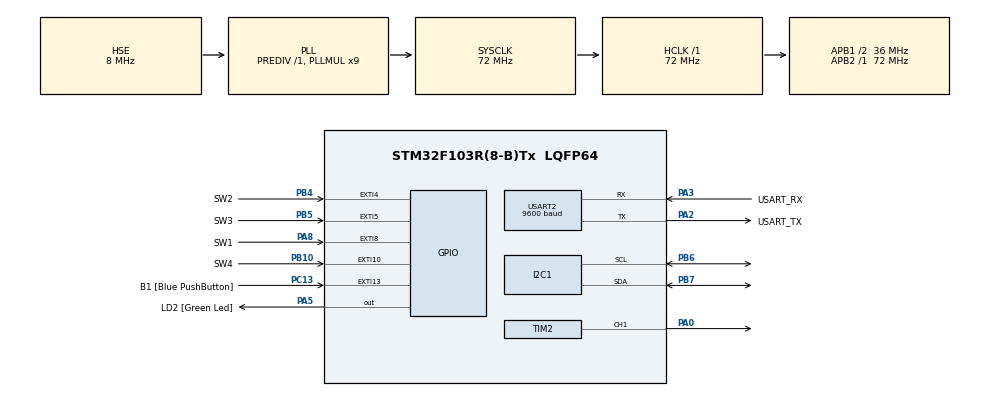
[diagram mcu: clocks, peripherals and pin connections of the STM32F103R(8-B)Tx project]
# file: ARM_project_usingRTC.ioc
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I2C1.I2C_Mode=I2C_Standard
Mcu.Family=STM32F1
Mcu.Name=STM32F103R(8-B)Tx
Mcu.Package=LQFP64
NVIC.EXTI15_10_IRQn=true\:0\:0\:false\:false\:true\:true\:true\:true
NVIC.EXTI4_IRQn=true\:0\:0\:false\:false\:true\:true\:true\:true
NVIC.EXTI9_5_IRQn=true\:0\:0\:false\:false\:true\:true\:true\:true
NVIC.I2C1_ER_IRQn=true\:0\:0\:false\:false\:true\:true\:true\:true
NVIC.I2C1_EV_IRQn=true\:0\:0\:false\:false\:true\:true\:true\:true
NVIC.PriorityGroup=NVIC_PRIORITYGROUP_4
NVIC.RTC_Alarm_IRQn=true\:0\:0\:false\:false\:true\:true\:true\:true
NVIC.RTC_IRQn=true\:0\:0\:false\:false\:true\:true\:true\:true
NVIC.TIM2_IRQn=true\:0\:0\:false\:false\:true\:true\:true\:true
NVIC.USART2_IRQn=true\:0\:0\:false\:false\:true\:true\:true\:true
PA0-WKUP.Signal=S_TIM2_CH1_ETR
PA13.GPIO_Label=TMS
PA13.Mode=Serial_Wire
PA13.Signal=SYS_JTMS-SWDIO
PA14.GPIO_Label=TCK
PA14.Mode=Serial_Wire
PA14.Signal=SYS_JTCK-SWCLK
PA2.GPIO_Label=USART_TX
PA2.GPIO_Mode=GPIO_MODE_AF_PP
PA2.GPIO_PuPd=GPIO_NOPULL
PA2.GPIO_Speed=GPIO_SPEED_FREQ_LOW
PA2.Mode=Asynchronous
PA2.Signal=USART2_TX
PA3.GPIO_Label=USART_RX
PA3.GPIO_Mode=GPIO_MODE_AF_PP
PA3.GPIO_PuPd=GPIO_NOPULL
PA3.GPIO_Speed=GPIO_SPEED_FREQ_LOW
PA3.Mode=Asynchronous
PA3.Signal=USART2_RX
PA5.GPIO_Label=LD2 [Green Led]
PA5.GPIO_ModeDefaultOutputPP=GPIO_MODE_OUTPUT_PP
PA5.GPIO_PuPd=GPIO_NOPULL
PA5.GPIO_Speed=GPIO_SPEED_FREQ_LOW
PA5.Signal=GPIO_Output
PA8.GPIO_Label=SW1
PA8.GPIO_ModeDefaultEXTI=GPIO_MODE_IT_RISING
PA8.Signal=GPXTI8
PB10.GPIO_Label=SW4
PB10.GPIO_ModeDefaultEXTI=GPIO_MODE_IT_FALLING
PB10.GPIO_PuPd=GPIO_NOPULL
PB10.Signal=GPXTI10
PB3.GPIO_Label=SWO
PB3.Signal=SYS_JTDO-TRACESWO
PB4.GPIO_Label=SW2
PB4.GPIO_ModeDefaultEXTI=GPIO_MODE_IT_RISING
PB4.GPIO_PuPd=GPIO_NOPULL
PB4.Signal=GPXTI4
PB5.GPIO_Label=SW3
PB5.GPIO_ModeDefaultEXTI=GPIO_MODE_IT_FALLING
PB5.GPIO_PuPd=GPIO_NOPULL
PB5.Signal=GPXTI5
PB6.Mode=I2C
PB6.Signal=I2C1_SCL
PB7.Mode=I2C
PB7.Signal=I2C1_SDA
PC13-TAMPER-RTC.GPIO_Label=B1 [Blue PushButton]
PC13-TAMPER-RTC.GPIO_PuPd=GPIO_NOPULL
PC13-TAMPER-RTC.Signal=GPXTI13
PC14-OSC32_IN.Mode=LSE-External-Oscillator
PC14-OSC32_IN.Signal=RCC_OSC32_IN
PC15-OSC32_OUT.Mode=LSE-External-Oscillator
PC15-OSC32_OUT.Signal=RCC_OSC32_OUT
PD0-OSC_IN.Mode=HSE-External-Oscillator
PD0-OSC_IN.Signal=RCC_OSC_IN
PD1-OSC_OUT.Mode=HSE-External-Oscillator
PD1-OSC_OUT.Signal=RCC_OSC_OUT
ProjectManager.HeapSize=0x200
ProjectManager.StackSize=0x400
ProjectManager.TargetToolchain=STM32CubeIDE
RCC.AHBFreq_Value=72000000
RCC.APB1CLKDivider=RCC_HCLK_DIV2
RCC.APB1Freq_Value=36000000
RCC.APB1TimFreq_Value=72000000
RCC.APB2Freq_Value=72000000
RCC.APB2TimFreq_Value=72000000
RCC.HCLKFreq_Value=72000000
RCC.PLLMUL=RCC_PLL_MUL9
RCC.PLLSourceVirtual=RCC_PLLSOURCE_HSE
RCC.RTCClockSelection=RCC_RTCCLKSOURCE_LSE
RCC.SYSCLKFreq_VALUE=72000000
RCC.SYSCLKSource=RCC_SYSCLKSOURCE_PLLCLK
RCC.USBFreq_Value=72000000
RTC.AutoPrediv=RTC_AUTO_1_SECOND
RTC.OutPut=RTC_OUTPUTSOURCE_ALARM
SH.S_TIM2_CH1_ETR.0=TIM2_CH1,PWM Generation1 CH1
TIM2.Channel-PWM\ Generation1\ CH1=TIM_CHANNEL_1
TIM2.Period=2000-1
TIM2.Prescaler=720-1
TIM3.Period=65535
TIM3.Prescaler=7200-1
USART2.BaudRate=9600
USART2.VirtualMode=VM_ASYNC
VP_RTC_VS_RTC_Activate.Mode=RTC_Enabled
VP_RTC_VS_RTC_Calendar.Mode=RTC_Calendar
VP_TIM2_VS_ClockSourceINT.Mode=Internal
VP_TIM3_VS_ClockSourceINT.Mode=Internal
board=NUCLEO-F103RB

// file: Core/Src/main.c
/* USER CODE BEGIN Header */
/**
 ******************************************************************************
 * @file           : main.c
 * @brief          : Main program body
 ******************************************************************************
 * @attention
 *
 * Copyright (c) 2022 STMicroelectronics.
 * All rights reserved.
 *
 * This software is licensed under terms that can be found in the LICENSE file
 * in the root directory of this software component.
 * If no LICENSE file comes with this software, it is provided AS-IS.
 *
 ******************************************************************************
 */
/* USER CODE END Header */
#include "main.h"

/* USER CODE BEGIN Includes */
#include "i2c-lcd.h"
#include "stdio.h"
#include "string.h"
/* USER CODE END Includes */

 I2C_HandleTypeDef hi2c1;

RTC_HandleTypeDef hrtc;

TIM_HandleTypeDef htim2;
TIM_HandleTypeDef htim3;

UART_HandleTypeDef huart2;

/* USER CODE BEGIN PV */
RTC_TimeTypeDef sTime;

uint16_t min = 0;
uint16_t hour = 0;
uint16_t sec = 0;

int servoFlag = 0;

char time[30];
char setTime[30];
/* USER CODE END PV */

void SystemClock_Config(void);
static void MX_GPIO_Init(void);
static void MX_USART2_UART_Init(void);
static void MX_I2C1_Init(void);
static void MX_TIM3_Init(void);
static void MX_RTC_Init(void);
static void MX_TIM2_Init(void);

/* USER CODE BEGIN 0 */
#ifdef __GNUC__										//printf ?��?��
/* With GCC, small printf (option LD Linker->Libraries->Small printf
 set to 'Yes') calls __io_putchar() */
#define PUTCHAR_PROTOTYPE int __io_putchar(int ch)
#else
#define PUTCHAR_PROTOTYPE int fputc(int ch, FILE *f)
#endif /* __GNUC__ */

PUTCHAR_PROTOTYPE {
	/* Place your implementation of fputc here */
	/* e.g. write a character to the USART1 and Loop until the end of transmission */
	HAL_UART_Transmit(&huart2, (uint8_t*) &ch, 1, 0xFFFF);

	return ch;
}
//===========================================================
//					personal function
//===========================================================
//void drivingServo(int servoFlag) {
//	if (servoFlag == 1) {
//		TIM2->CCR1 = 50; // CCR1 50 ~ 250 == servo 0deg ~ 180deg driving
//		HAL_Delay(500);
//		servoFlag = 0; // flag reset
//	}else if(servoFlag == 0){
//		TIM2->CCR1 = 0;
//	}
//}
void displayLCD() {
	if (sTime.Hours == hour && sTime.Minutes == min) { // time == set time -> auto feeding !!
		char feedAFish[50];

		hour = 0;
		min = 0;
		servoFlag = 1; // make flag for using servo motor

		sprintf(time, "Time  %d : %d  ", sTime.Hours, sTime.Minutes);
		//sprintf(setTime, "Set   %d : %d  ", hour, min);
		sprintf(feedAFish, "Feed a fish !!");

		lcd_put_cur(0, 0);
		lcd_send_string(time);

		lcd_put_cur(1, 0);
		//lcd_send_string(setTime);
		lcd_send_string(feedAFish);

		HAL_Delay(2000); // during 1 second, display "Feed a fish" by LCD
	} else { // display current time using RTC and set time
		servoFlag = 0;

		sprintf(time, "Time  %d : %d  ", sTime.Hours, sTime.Minutes);
		sprintf(setTime, "Set   %d : %d    ", hour, min);

		lcd_put_cur(0, 0);
		lcd_send_string(time);

		lcd_put_cur(1, 0);
		lcd_send_string(setTime);
	}
}
/* USER CODE END 0 */

int main(void)
{

  /* MCU Configuration--------------------------------------------------------*/

  /* Reset of all peripherals, Initializes the Flash interface and the Systick. */
  HAL_Init();

  /* Configure the system clock */
  SystemClock_Config();

  /* Initialize all configured peripherals */
  MX_GPIO_Init();
  MX_USART2_UART_Init();
  MX_I2C1_Init();
  MX_TIM3_Init();
  MX_RTC_Init();
  MX_TIM2_Init();
  /* USER CODE BEGIN 2 */
	lcd_init();
	HAL_TIM_PWM_Start_IT(&htim2, TIM_CHANNEL_1);
	HAL_TIM_Base_Start(&htim3);
  /* USER CODE END 2 */

  /* Infinite loop */
  /* USER CODE BEGIN WHILE */
	while (1) {
		HAL_RTC_GetTime(&hrtc, &sTime, RTC_FORMAT_BIN);

		displayLCD(); //display time & set time for using servo motor LCD

    /* USER CODE END WHILE */

	}
}

void SystemClock_Config(void)
{
  RCC_OscInitTypeDef RCC_OscInitStruct = {0};
  RCC_ClkInitTypeDef RCC_ClkInitStruct = {0};
  RCC_PeriphCLKInitTypeDef PeriphClkInit = {0};

  /** Initializes the RCC Oscillators according to the specified parameters
  * in the RCC_OscInitTypeDef structure.
  */
  RCC_OscInitStruct.OscillatorType = RCC_OSCILLATORTYPE_HSE|RCC_OSCILLATORTYPE_LSE;
  RCC_OscInitStruct.HSEState = RCC_HSE_ON;
  RCC_OscInitStruct.HSEPredivValue = RCC_HSE_PREDIV_DIV1;
  RCC_OscInitStruct.LSEState = RCC_LSE_ON;
  RCC_OscInitStruct.HSIState = RCC_HSI_ON;
  RCC_OscInitStruct.PLL.PLLState = RCC_PLL_ON;
  RCC_OscInitStruct.PLL.PLLSource = RCC_PLLSOURCE_HSE;
  RCC_OscInitStruct.PLL.PLLMUL = RCC_PLL_MUL9;
  if (HAL_RCC_OscConfig(&RCC_OscInitStruct) != HAL_OK)
  {
    Error_Handler();
  }

  /** Initializes the CPU, AHB and APB buses clocks
  */
  RCC_ClkInitStruct.ClockType = RCC_CLOCKTYPE_HCLK|RCC_CLOCKTYPE_SYSCLK
                              |RCC_CLOCKTYPE_PCLK1|RCC_CLOCKTYPE_PCLK2;
  RCC_ClkInitStruct.SYSCLKSource = RCC_SYSCLKSOURCE_PLLCLK;
  RCC_ClkInitStruct.AHBCLKDivider = RCC_SYSCLK_DIV1;
  RCC_ClkInitStruct.APB1CLKDivider = RCC_HCLK_DIV2;
  RCC_ClkInitStruct.APB2CLKDivider = RCC_HCLK_DIV1;

  if (HAL_RCC_ClockConfig(&RCC_ClkInitStruct, FLASH_LATENCY_2) != HAL_OK)
  {
    Error_Handler();
  }
  PeriphClkInit.PeriphClockSelection = RCC_PERIPHCLK_RTC;
  PeriphClkInit.RTCClockSelection = RCC_RTCCLKSOURCE_LSE;
  if (HAL_RCCEx_PeriphCLKConfig(&PeriphClkInit) != HAL_OK)
  {
    Error_Handler();
  }
}

static void MX_I2C1_Init(void)
{

  hi2c1.Instance = I2C1;
  hi2c1.Init.ClockSpeed = 100000;
  hi2c1.Init.DutyCycle = I2C_DUTYCYCLE_2;
  hi2c1.Init.OwnAddress1 = 0;
  hi2c1.Init.AddressingMode = I2C_ADDRESSINGMODE_7BIT;
  hi2c1.Init.DualAddressMode = I2C_DUALADDRESS_DISABLE;
  hi2c1.Init.OwnAddress2 = 0;
  hi2c1.Init.GeneralCallMode = I2C_GENERALCALL_DISABLE;
  hi2c1.Init.NoStretchMode = I2C_NOSTRETCH_DISABLE;
  if (HAL_I2C_Init(&hi2c1) != HAL_OK)
  {
    Error_Handler();
  }

}

static void MX_RTC_Init(void)
{

  RTC_TimeTypeDef sTime = {0};
  RTC_DateTypeDef DateToUpdate = {0};

  /** Initialize RTC Only
  */
  hrtc.Instance = RTC;
  hrtc.Init.AsynchPrediv = RTC_AUTO_1_SECOND;
  hrtc.Init.OutPut = RTC_OUTPUTSOURCE_ALARM;
  if (HAL_RTC_Init(&hrtc) != HAL_OK)
  {
    Error_Handler();
  }

  /** Initialize RTC and set the Time and Date
  */
  sTime.Hours = 0x0;
  sTime.Minutes = 0x0;
  sTime.Seconds = 0x0;

  if (HAL_RTC_SetTime(&hrtc, &sTime, RTC_FORMAT_BCD) != HAL_OK)
  {
    Error_Handler();
  }
  DateToUpdate.WeekDay = RTC_WEEKDAY_MONDAY;
  DateToUpdate.Month = RTC_MONTH_JANUARY;
  DateToUpdate.Date = 0x1;
  DateToUpdate.Year = 0x0;

  if (HAL_RTC_SetDate(&hrtc, &DateToUpdate, RTC_FORMAT_BCD) != HAL_OK)
  {
    Error_Handler();
  }

}

static void MX_TIM2_Init(void)
{

  TIM_ClockConfigTypeDef sClockSourceConfig = {0};
  TIM_MasterConfigTypeDef sMasterConfig = {0};
  TIM_OC_InitTypeDef sConfigOC = {0};

  htim2.Instance = TIM2;
  htim2.Init.Prescaler = 720-1;
  htim2.Init.CounterMode = TIM_COUNTERMODE_UP;
  htim2.Init.Period = 2000-1;
  htim2.Init.ClockDivision = TIM_CLOCKDIVISION_DIV1;
  htim2.Init.AutoReloadPreload = TIM_AUTORELOAD_PRELOAD_DISABLE;
  if (HAL_TIM_Base_Init(&htim2) != HAL_OK)
  {
    Error_Handler();
  }
  sClockSourceConfig.ClockSource = TIM_CLOCKSOURCE_INTERNAL;
  if (HAL_TIM_ConfigClockSource(&htim2, &sClockSourceConfig) != HAL_OK)
  {
    Error_Handler();
  }
  if (HAL_TIM_PWM_Init(&htim2) != HAL_OK)
  {
    Error_Handler();
  }
  sMasterConfig.MasterOutputTrigger = TIM_TRGO_RESET;
  sMasterConfig.MasterSlaveMode = TIM_MASTERSLAVEMODE_DISABLE;
  if (HAL_TIMEx_MasterConfigSynchronization(&htim2, &sMasterConfig) != HAL_OK)
  {
    Error_Handler();
  }
  sConfigOC.OCMode = TIM_OCMODE_PWM1;
  sConfigOC.Pulse = 0;
  sConfigOC.OCPolarity = TIM_OCPOLARITY_HIGH;
  sConfigOC.OCFastMode = TIM_OCFAST_DISABLE;
  if (HAL_TIM_PWM_ConfigChannel(&htim2, &sConfigOC, TIM_CHANNEL_1) != HAL_OK)
  {
    Error_Handler();
  }
  HAL_TIM_MspPostInit(&htim2);

}

static void MX_TIM3_Init(void)
{

  TIM_ClockConfigTypeDef sClockSourceConfig = {0};
  TIM_MasterConfigTypeDef sMasterConfig = {0};

  htim3.Instance = TIM3;
  htim3.Init.Prescaler = 7200-1;
  htim3.Init.CounterMode = TIM_COUNTERMODE_UP;
  htim3.Init.Period = 65535;
  htim3.Init.ClockDivision = TIM_CLOCKDIVISION_DIV1;
  htim3.Init.AutoReloadPreload = TIM_AUTORELOAD_PRELOAD_DISABLE;
  if (HAL_TIM_Base_Init(&htim3) != HAL_OK)
  {
    Error_Handler();
  }
  sClockSourceConfig.ClockSource = TIM_CLOCKSOURCE_INTERNAL;
  if (HAL_TIM_ConfigClockSource(&htim3, &sClockSourceConfig) != HAL_OK)
  {
    Error_Handler();
  }
  sMasterConfig.MasterOutputTrigger = TIM_TRGO_RESET;
  sMasterConfig.MasterSlaveMode = TIM_MASTERSLAVEMODE_DISABLE;
  if (HAL_TIMEx_MasterConfigSynchronization(&htim3, &sMasterConfig) != HAL_OK)
  {
    Error_Handler();
  }

}

static void MX_USART2_UART_Init(void)
{

  huart2.Instance = USART2;
  huart2.Init.BaudRate = 9600;
  huart2.Init.WordLength = UART_WORDLENGTH_8B;
  huart2.Init.StopBits = UART_STOPBITS_1;
  huart2.Init.Parity = UART_PARITY_NONE;
  huart2.Init.Mode = UART_MODE_TX_RX;
  huart2.Init.HwFlowCtl = UART_HWCONTROL_NONE;
  huart2.Init.OverSampling = UART_OVERSAMPLING_16;
  if (HAL_UART_Init(&huart2) != HAL_OK)
  {
    Error_Handler();
  }

}

static void MX_GPIO_Init(void)
{
  GPIO_InitTypeDef GPIO_InitStruct = {0};

  /* GPIO Ports Clock Enable */
  __HAL_RCC_GPIOC_CLK_ENABLE();
  __HAL_RCC_GPIOD_CLK_ENABLE();
  __HAL_RCC_GPIOA_CLK_ENABLE();
  __HAL_RCC_GPIOB_CLK_ENABLE();

  /*Configure GPIO pin Output Level */
  HAL_GPIO_WritePin(LD2_GPIO_Port, LD2_Pin, GPIO_PIN_RESET);

  /*Configure GPIO pin : B1_Pin */
  GPIO_InitStruct.Pin = B1_Pin;
  GPIO_InitStruct.Mode = GPIO_MODE_IT_RISING;
  GPIO_InitStruct.Pull = GPIO_NOPULL;
  HAL_GPIO_Init(B1_GPIO_Port, &GPIO_InitStruct);

  /*Configure GPIO pin : LD2_Pin */
  GPIO_InitStruct.Pin = LD2_Pin;
  GPIO_InitStruct.Mode = GPIO_MODE_OUTPUT_PP;
  GPIO_InitStruct.Pull = GPIO_NOPULL;
  GPIO_InitStruct.Speed = GPIO_SPEED_FREQ_LOW;
  HAL_GPIO_Init(LD2_GPIO_Port, &GPIO_InitStruct);

  /*Configure GPIO pins : SW4_Pin SW3_Pin */
  GPIO_InitStruct.Pin = SW4_Pin|SW3_Pin;
  GPIO_InitStruct.Mode = GPIO_MODE_IT_FALLING;
  GPIO_InitStruct.Pull = GPIO_NOPULL;
  HAL_GPIO_Init(GPIOB, &GPIO_InitStruct);

  /*Configure GPIO pin : SW1_Pin */
  GPIO_InitStruct.Pin = SW1_Pin;
  GPIO_InitStruct.Mode = GPIO_MODE_IT_RISING;
  GPIO_InitStruct.Pull = GPIO_NOPULL;
  HAL_GPIO_Init(SW1_GPIO_Port, &GPIO_InitStruct);

  /*Configure GPIO pin : SW2_Pin */
  GPIO_InitStruct.Pin = SW2_Pin;
  GPIO_InitStruct.Mode = GPIO_MODE_IT_RISING;
  GPIO_InitStruct.Pull = GPIO_NOPULL;
  HAL_GPIO_Init(SW2_GPIO_Port, &GPIO_InitStruct);

  /* EXTI interrupt init*/
  HAL_NVIC_SetPriority(EXTI4_IRQn, 0, 0);
  HAL_NVIC_EnableIRQ(EXTI4_IRQn);

  HAL_NVIC_SetPriority(EXTI9_5_IRQn, 0, 0);
  HAL_NVIC_EnableIRQ(EXTI9_5_IRQn);

  HAL_NVIC_SetPriority(EXTI15_10_IRQn, 0, 0);
  HAL_NVIC_EnableIRQ(EXTI15_10_IRQn);

}

/* USER CODE BEGIN 4 */
uint32_t curTime = 0, preTime = 0;

void HAL_GPIO_EXTI_Callback(uint16_t GPIO_Pin) {
	if (GPIO_Pin == SW1_Pin) { // time 1 hour increasing
		curTime = TIM3->CNT;
		if (curTime - preTime >= 1000) {
			sTime.Hours += 1;
			preTime = curTime;
			HAL_RTC_SetTime(&hrtc, &sTime, RTC_FORMAT_BIN);
		}
	}
	if (GPIO_Pin == SW2_Pin) { // time 1 minute increasing
		curTime = TIM3->CNT;
		if (curTime - preTime >= 1000) {
			sTime.Minutes += 1;
			preTime = curTime;
			HAL_RTC_SetTime(&hrtc, &sTime, RTC_FORMAT_BIN);
		}
	}
	if (GPIO_Pin == SW3_Pin) { // set time 10 minutes increasing
		curTime = TIM3->CNT;
		if (curTime - preTime >= 1000) {
			hour += 1;
			if (hour >= 24)
				hour = 0;
			preTime = curTime;
		}
	}
	if (GPIO_Pin == SW4_Pin) { // set time 1 hour increasing
		curTime = TIM3->CNT;
		if (curTime - preTime >= 1000) {
			min += 10;
			if (min >= 60)
				min = 0;
			preTime = curTime;
		}
	}
}
void HAL_TIM_PWM_PulseFinishedCallback(TIM_HandleTypeDef *htim){
	if(servoFlag == 1){
		TIM2->CCR1 = 150;
	}
	else if(servoFlag == 0){
		TIM2->CCR1 = 50;
	}
}
/* USER CODE END 4 */

void Error_Handler(void)
{
	__disable_irq();
	while (1) {
	}
}
